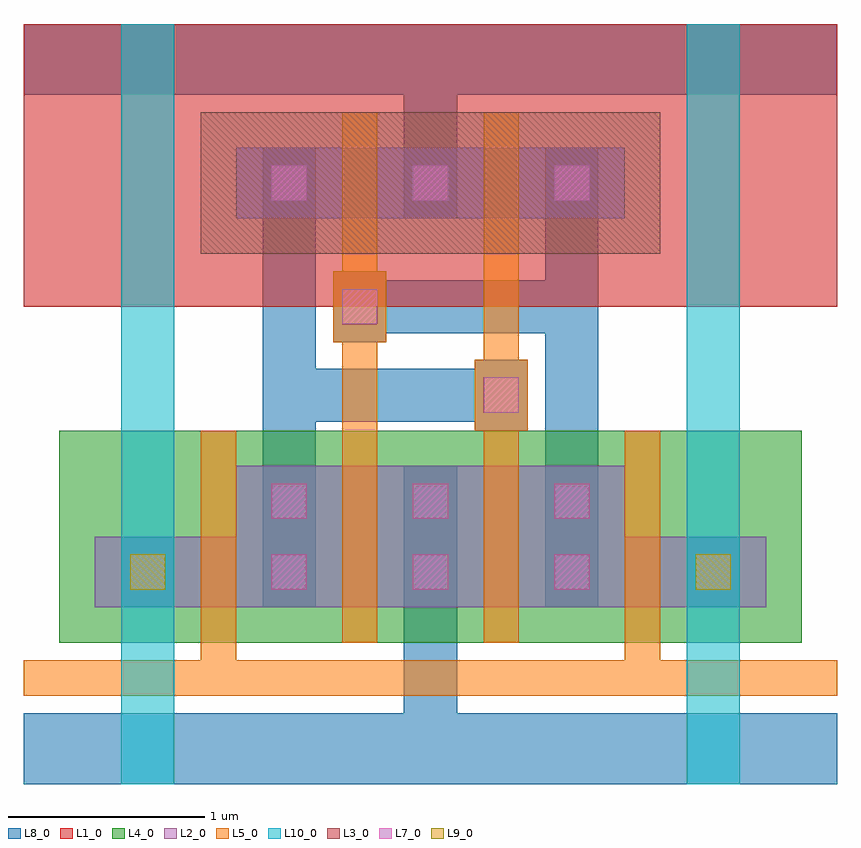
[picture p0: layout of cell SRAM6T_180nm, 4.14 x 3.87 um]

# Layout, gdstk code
import gdstk
lib = gdstk.Library(unit=1e-6, precision=1e-12)
def R(c, l, rs):  # rectangles x0, y0, x1, y1
    for r in rs: c.add(gdstk.rectangle(r[:2], r[2:], *l))
def A(c, l, x, y, w, h, nx, ny, dx, dy):  # array of equal rectangles
    R(c, l, [(x+i*dx, y+j*dy, x+i*dx+w, y+j*dy+h) for i in range(nx) for j in range(ny)])
L1_0 = (1, 0)
L2_0 = (2, 0)
L3_0 = (3, 0)
L4_0 = (4, 0)
L5_0 = (5, 0)
L7_0 = (7, 0)
L8_0 = (8, 0)
L9_0 = (9, 0)
L10_0 = (10, 0)

sram6t_180nm = lib.new_cell('SRAM6T_180nm')
R(sram6t_180nm, L1_0, [(0,2.43,4.14,3.87)])
A(sram6t_180nm, L2_0, 1.08, 0.9, 0.54, 0.72, 3, 1, 0.72, 0)
A(sram6t_180nm, L2_0, 1.08, 2.88, 0.54, 0.36, 3, 1, 0.72, 0)
R(sram6t_180nm, L2_0, [(0.36,0.9,0.9,1.26), (0.9,0.9,1.08,1.26), (1.62,0.9,1.8,1.62), (2.34,0.9,2.52,1.62), (3.06,0.9,3.24,1.26), (3.24,0.9,3.78,1.26), (1.62,2.88,1.8,3.24), (2.34,2.88,2.52,3.24)])
R(sram6t_180nm, L3_0, [(0.9,2.7,3.24,3.42)])
R(sram6t_180nm, L4_0, [(0.18,0.72,3.96,1.8)])
R(sram6t_180nm, L5_0, [(0,0.45,4.14,0.63), (0.9,0.45,1.08,1.8), (3.06,0.45,3.24,1.8), (1.62,0.72,1.8,3.42), (2.34,0.72,2.52,3.42), (2.295,1.8,2.565,2.16), (1.575,2.25,1.845,2.61)])
A(sram6t_180nm, L7_0, 0.54, 0.99, 0.18, 0.18, 5, 1, 0.72, 0)
A(sram6t_180nm, L7_0, 1.26, 1.35, 0.18, 0.18, 3, 2, 0.72, 1.62)
R(sram6t_180nm, L7_0, [(2.34,1.89,2.52,2.07), (1.62,2.34,1.8,2.52)])
R(sram6t_180nm, L8_0, [(0,0,4.14,0.36), (1.935,0,2.205,1.62), (0.495,0.9,0.765,1.26), (1.215,0.9,1.485,3.24), (2.655,0.9,2.925,3.24), (3.375,0.9,3.645,1.26), (2.295,1.8,2.565,2.16), (1.215,1.845,2.565,2.115), (1.575,2.25,1.845,2.61), (1.575,2.295,2.925,2.565), (1.935,2.88,2.205,3.87), (0,3.51,4.14,3.87)])
R(sram6t_180nm, L9_0, [(0.54,0.99,0.72,1.17), (3.42,0.99,3.6,1.17)])
R(sram6t_180nm, L10_0, [(0.495,0,0.765,3.87), (3.375,0,3.645,3.87)])

lib.write_gds('SRAM6T_180nm.gds')
